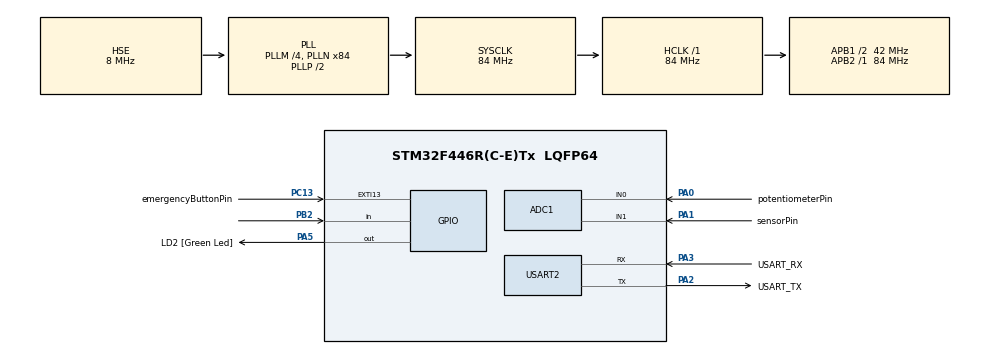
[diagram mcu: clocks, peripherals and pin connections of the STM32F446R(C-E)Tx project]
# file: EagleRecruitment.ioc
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ADC1.Channel-2\#ChannelRegularConversion=ADC_CHANNEL_0
ADC1.Channel-3\#ChannelRegularConversion=ADC_CHANNEL_1
ADC1.ClockPrescaler=ADC_CLOCK_SYNC_PCLK_DIV8
ADC1.ContinuousConvMode=ENABLE
ADC1.DMAContinuousRequests=ENABLE
ADC1.EOCSelection=ADC_EOC_SEQ_CONV
ADC1.NbrOfConversion=2
ADC1.NbrOfConversionFlag=1
ADC1.Rank-2\#ChannelRegularConversion=1
ADC1.Rank-3\#ChannelRegularConversion=2
ADC1.SamplingTime-2\#ChannelRegularConversion=ADC_SAMPLETIME_3CYCLES
ADC1.SamplingTime-3\#ChannelRegularConversion=ADC_SAMPLETIME_3CYCLES
ADC1.master=1
Dma.ADC1.0.Direction=DMA_PERIPH_TO_MEMORY
Dma.ADC1.0.FIFOMode=DMA_FIFOMODE_DISABLE
Dma.ADC1.0.Instance=DMA2_Stream0
Dma.ADC1.0.MemDataAlignment=DMA_MDATAALIGN_HALFWORD
Dma.ADC1.0.MemInc=DMA_MINC_ENABLE
Dma.ADC1.0.Mode=DMA_CIRCULAR
Dma.ADC1.0.PeriphDataAlignment=DMA_PDATAALIGN_HALFWORD
Dma.ADC1.0.PeriphInc=DMA_PINC_DISABLE
Dma.ADC1.0.Priority=DMA_PRIORITY_LOW
Dma.Request0=ADC1
Mcu.Family=STM32F4
Mcu.Name=STM32F446R(C-E)Tx
Mcu.Package=LQFP64
NVIC.DMA2_Stream0_IRQn=true\:0\:0\:false\:false\:true\:false\:true\:true
NVIC.EXTI15_10_IRQn=true\:0\:0\:false\:false\:true\:true\:true\:true
NVIC.PriorityGroup=NVIC_PRIORITYGROUP_0
NVIC.TIM6_DAC_IRQn=true\:0\:0\:false\:false\:true\:true\:true\:true
PA0-WKUP.GPIO_Label=potentiometerPin
PA0-WKUP.Signal=ADCx_IN0
PA1.GPIO_Label=sensorPin
PA1.Signal=ADCx_IN1
PA13.GPIO_Label=TMS
PA13.Mode=Serial_Wire
PA13.Signal=SYS_JTMS-SWDIO
PA14.GPIO_Label=TCK
PA14.Mode=Serial_Wire
PA14.Signal=SYS_JTCK-SWCLK
PA2.GPIO_Label=USART_TX
PA2.Mode=Asynchronous
PA2.Signal=USART2_TX
PA3.GPIO_Label=USART_RX
PA3.Mode=Asynchronous
PA3.Signal=USART2_RX
PA5.GPIO_Label=LD2 [Green Led]
PA5.Signal=GPIO_Output
PB2.Signal=GPIO_Input
PB3.GPIO_Label=SWO
PB3.Signal=SYS_JTDO-SWO
PC13.GPIO_Label=emergencyButtonPin
PC13.GPIO_ModeDefaultEXTI=GPIO_MODE_IT_FALLING
PC13.Signal=GPXTI13
PC14-OSC32_IN.Signal=RCC_OSC32_IN
PC15-OSC32_OUT.Signal=RCC_OSC32_OUT
PH0-OSC_IN.Mode=HSE-External-Clock-Source
PH0-OSC_IN.Signal=RCC_OSC_IN
PH1-OSC_OUT.Mode=HSE-External-Clock-Source
PH1-OSC_OUT.Signal=RCC_OSC_OUT
ProjectManager.HeapSize=0x200
ProjectManager.StackSize=0x400
ProjectManager.TargetToolchain=Makefile
RCC.48MHZClocksFreq_Value=84000000
RCC.AHBFreq_Value=84000000
RCC.APB1CLKDivider=RCC_HCLK_DIV2
RCC.APB1Freq_Value=42000000
RCC.APB1TimFreq_Value=84000000
RCC.APB2Freq_Value=84000000
RCC.APB2TimFreq_Value=84000000
RCC.CortexFreq_Value=84000000
RCC.FLatency-AdvancedSettings=FLASH_LATENCY_2
RCC.HCLKFreq_Value=84000000
RCC.HSE_VALUE=8000000
RCC.HSI_VALUE=16000000
RCC.PLLM=4
RCC.PLLN=84
RCC.PLLSourceVirtual=RCC_PLLSOURCE_HSE
RCC.SYSCLKFreq_VALUE=84000000
RCC.SYSCLKSource=RCC_SYSCLKSOURCE_PLLCLK
RCC.USBFreq_Value=84000000
RCC.VCOOutputFreq_Value=168000000
SH.ADCx_IN0.0=ADC1_IN0,IN0
SH.ADCx_IN1.0=ADC1_IN1,IN1
TIM6.Period=499
TIM6.Prescaler=8399
USART2.VirtualMode=VM_ASYNC
VP_TIM6_VS_ClockSourceINT.Mode=Enable_Timer
board=NUCLEO-F446RE

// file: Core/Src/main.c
/* USER CODE BEGIN Header */
/**
  ******************************************************************************
  * @file           : main.c
  * @brief          : Main program body
  ******************************************************************************
  * @attention
  *
  * Copyright (c) 2023 STMicroelectronics.
  * All rights reserved.
  *
  * This software is licensed under terms that can be found in the LICENSE file
  * in the root directory of this software component.
  * If no LICENSE file comes with this software, it is provided AS-IS.
  *
  ******************************************************************************
  */
/* USER CODE END Header */
#include "main.h"
#include "adc.h"
#include "dma.h"
#include "tim.h"
#include "usart.h"
#include "gpio.h"

/* USER CODE BEGIN PV */
uint8_t prev_state = STATE_RUNNING;
uint8_t state = STATE_RUNNING;

uint16_t adc_values[2];

/* USER CODE END PV */

void SystemClock_Config(void);

/* USER CODE BEGIN 0 */
/**
 * @brief Manage the external interrupt generated by the emergency button.
 *    There is no need to check the pin since it is the only exti used.
*/
void HAL_GPIO_EXTI_Callback(uint16_t GPIO_Pin)
{
  // Manage the state
  if (state != STATE_WAITING) {
    prev_state = state;
    state = STATE_WAITING;
  } else {
    state = prev_state;
  }
}
/* USER CODE END 0 */

int main(void)
{

  /* MCU Configuration--------------------------------------------------------*/

  /* Reset of all peripherals, Initializes the Flash interface and the Systick. */
  HAL_Init();

  /* Configure the system clock */
  SystemClock_Config();

  /* Initialize all configured peripherals */
  MX_GPIO_Init();
  MX_DMA_Init();
  MX_ADC1_Init();
  MX_USART2_UART_Init();
  MX_TIM6_Init();
  /* USER CODE BEGIN 2 */
  HAL_TIM_Base_Start_IT(&htim6);
  HAL_ADC_Start_DMA(&hadc1, adc_values, 2);
  /* USER CODE END 2 */

  /* Infinite loop */
  /* USER CODE BEGIN WHILE */
  while (1)
  {
    // WAITING STATE
    if (state == STATE_WAITING) {
      // Turn off LEDs
      HAL_GPIO_WritePin(GPIOA, LD2_Pin, GPIO_PIN_RESET);

      HAL_UART_Transmit(&huart2, "Board in waiting state - please press the emergency button\n", 59, HAL_MAX_DELAY);
      HAL_Delay(500);
    }

    // UNDER VOLTAGE DANGER STATE
    else if (state == STATE_DANGER_UNDER) {
      HAL_GPIO_WritePin(GPIOA, LD2_Pin, GPIO_PIN_SET);
      HAL_Delay(250);
      HAL_GPIO_WritePin(GPIOA, LD2_Pin, GPIO_PIN_RESET);
      HAL_Delay(250);
    }

    // OVER VOLTAGE DANGER STATE
    else if (state == STATE_DANGER_OVER) {
      HAL_GPIO_WritePin(GPIOA, LD2_Pin, GPIO_PIN_SET);
      HAL_Delay(1000);
      HAL_GPIO_WritePin(GPIOA, LD2_Pin, GPIO_PIN_RESET);
      HAL_Delay(1000);
    }

    /* USER CODE END WHILE */

  }
}

void SystemClock_Config(void)
{
  RCC_OscInitTypeDef RCC_OscInitStruct = {0};
  RCC_ClkInitTypeDef RCC_ClkInitStruct = {0};

  /** Configure the main internal regulator output voltage
  */
  __HAL_RCC_PWR_CLK_ENABLE();
  __HAL_PWR_VOLTAGESCALING_CONFIG(PWR_REGULATOR_VOLTAGE_SCALE3);

  /** Initializes the RCC Oscillators according to the specified parameters
  * in the RCC_OscInitTypeDef structure.
  */
  RCC_OscInitStruct.OscillatorType = RCC_OSCILLATORTYPE_HSE;
  RCC_OscInitStruct.HSEState = RCC_HSE_BYPASS;
  RCC_OscInitStruct.PLL.PLLState = RCC_PLL_ON;
  RCC_OscInitStruct.PLL.PLLSource = RCC_PLLSOURCE_HSE;
  RCC_OscInitStruct.PLL.PLLM = 4;
  RCC_OscInitStruct.PLL.PLLN = 84;
  RCC_OscInitStruct.PLL.PLLP = RCC_PLLP_DIV2;
  RCC_OscInitStruct.PLL.PLLQ = 2;
  RCC_OscInitStruct.PLL.PLLR = 2;
  if (HAL_RCC_OscConfig(&RCC_OscInitStruct) != HAL_OK)
  {
    Error_Handler();
  }

  /** Initializes the CPU, AHB and APB buses clocks
  */
  RCC_ClkInitStruct.ClockType = RCC_CLOCKTYPE_HCLK|RCC_CLOCKTYPE_SYSCLK
                              |RCC_CLOCKTYPE_PCLK1|RCC_CLOCKTYPE_PCLK2;
  RCC_ClkInitStruct.SYSCLKSource = RCC_SYSCLKSOURCE_PLLCLK;
  RCC_ClkInitStruct.AHBCLKDivider = RCC_SYSCLK_DIV1;
  RCC_ClkInitStruct.APB1CLKDivider = RCC_HCLK_DIV2;
  RCC_ClkInitStruct.APB2CLKDivider = RCC_HCLK_DIV1;

  if (HAL_RCC_ClockConfig(&RCC_ClkInitStruct, FLASH_LATENCY_2) != HAL_OK)
  {
    Error_Handler();
  }
}

void Error_Handler(void)
{
  __disable_irq();
  while (1)
  {
  }
}
